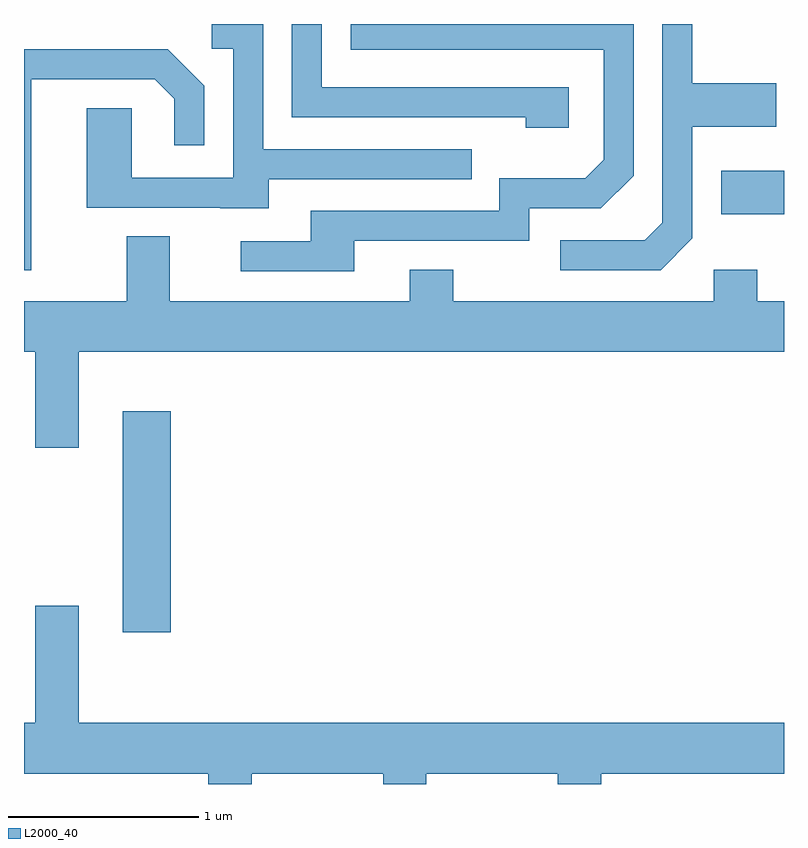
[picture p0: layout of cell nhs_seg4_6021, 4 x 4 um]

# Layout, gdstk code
import gdstk
lib = gdstk.Library(unit=1e-6, precision=1e-09)
def R(c, l, rs):  # rectangles x0, y0, x1, y1
    for r in rs: c.add(gdstk.rectangle(r[:2], r[2:], *l))
def P(c, l, *ps):  # polygons
    for p in ps: c.add(gdstk.Polygon(p, *l))
L2000_40 = (2000, 40)

nhs_seg4_6021 = lib.new_cell('nhs_seg4_6021')
R(nhs_seg4_6021, L2000_40, [(362.131,1328.781,362.384,1329.944), (365.281,1330.981,365.611,1331.209)])
P(nhs_seg4_6021, L2000_40, [(365.129,1330.854),(365.129,1331.441),(365.569,1331.441),(365.569,1331.669),(365.129,1331.669),(365.129,1331.982),(364.971,1331.982),(364.971,1330.937),(364.879,1330.844),(364.433,1330.844),(364.433,1330.686),(364.962,1330.686)],
  [(362.899,1331.166),(363.968,1331.166),(363.968,1331.324),(362.869,1331.324),(362.869,1331.982),(362.598,1331.982),(362.598,1331.851),(362.711,1331.851),(362.711,1331.174),(362.179,1331.174),(362.179,1331.539),(361.941,1331.539),(361.941,1331.016),(362.645,1331.016),(362.645,1331.011),(362.899,1331.011)],
  [(364.479,1331.649),(363.179,1331.649),(363.179,1331.982),(363.021,1331.982),(363.021,1331.491),(364.251,1331.491),(364.251,1331.436),(364.479,1331.436)],
  [(363.349,1330.841),(364.269,1330.841),(364.269,1331.011),(364.647,1331.011),(364.819,1331.184),(364.819,1331.982),(363.331,1331.982),(363.331,1331.846),(364.661,1331.846),(364.661,1331.267),(364.564,1331.169),(364.111,1331.169),(364.111,1330.999),(363.121,1330.999),(363.121,1330.839),(362.753,1330.839),(362.753,1330.681),(363.349,1330.681)],
  [(361.649,1331.691),(362.299,1331.691),(362.401,1331.589),(362.401,1331.343),(362.559,1331.343),(362.559,1331.657),(362.367,1331.849),(361.611,1331.849),(361.611,1330.686),(361.649,1330.686)],
  [(361.899,1330.256),(365.611,1330.256),(365.611,1330.524),(365.469,1330.524),(365.469,1330.689),(365.241,1330.689),(365.241,1330.524),(363.869,1330.524),(363.869,1330.689),(363.641,1330.689),(363.641,1330.524),(362.379,1330.524),(362.379,1330.864),(362.151,1330.864),(362.151,1330.524),(361.611,1330.524),(361.611,1330.256),(361.671,1330.256),(361.671,1329.751),(361.899,1329.751)],
  [(362.809,1328.036),(363.501,1328.036),(363.501,1327.982),(363.729,1327.982),(363.729,1328.036),(364.421,1328.036),(364.421,1327.982),(364.649,1327.982),(364.649,1328.036),(365.611,1328.036),(365.611,1328.304),(361.899,1328.304),(361.899,1328.919),(361.671,1328.919),(361.671,1328.304),(361.611,1328.304),(361.611,1328.036),(362.581,1328.036),(362.581,1327.982),(362.809,1327.982)])

lib.write_gds('nhs_seg4_6021.gds')
